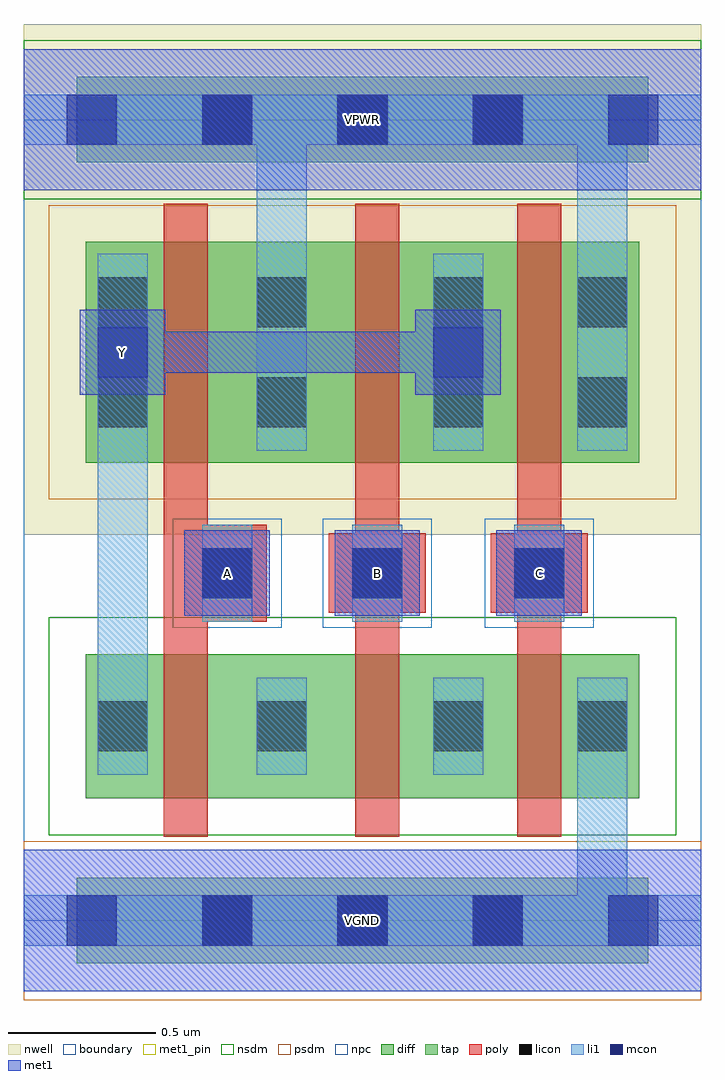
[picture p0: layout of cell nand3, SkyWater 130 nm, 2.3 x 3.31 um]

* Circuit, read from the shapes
.subckt nand3 A B C VGND VPWR Y
XM1 n1 A Y VGND sky130_fd_pr__nfet_01v8 w=0.49 l=0.15
XM2 n2 B n1 VGND sky130_fd_pr__nfet_01v8 w=0.49 l=0.15
XM3 VGND C n2 VGND sky130_fd_pr__nfet_01v8 w=0.49 l=0.15
XM4 VPWR A Y VPWR sky130_fd_pr__pfet_01v8 w=0.75 l=0.15
XM5 Y B VPWR VPWR sky130_fd_pr__pfet_01v8 w=0.75 l=0.15
XM6 VPWR C Y VPWR sky130_fd_pr__pfet_01v8 w=0.75 l=0.15
.ends

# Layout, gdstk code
import gdstk
lib = gdstk.Library(unit=1e-6, precision=1e-09)
def R(c, l, rs):  # rectangles x0, y0, x1, y1
    for r in rs: c.add(gdstk.rectangle(r[:2], r[2:], *l))
def A(c, l, x, y, w, h, nx, ny, dx, dy):  # array of equal rectangles
    R(c, l, [(x+i*dx, y+j*dy, x+i*dx+w, y+j*dy+h) for i in range(nx) for j in range(ny)])
nwell = (64, 20)
diff = (65, 20)
tap = (65, 44)
poly = (66, 20)
licon = (66, 44)
li1 = (67, 20)
mcon = (67, 44)
met1_pin = (68, 16)
met1 = (68, 20)
nsdm = (93, 44)
psdm = (94, 20)
npc = (95, 20)
boundary = (235, 4)

nand3 = lib.new_cell('nand3')
R(nand3, nwell, [(0,1.31,2.3,3.045)])
R(nand3, diff, [(0.21,0.415,2.09,0.905), (0.21,1.555,2.09,2.305)])
R(nand3, tap, [(0.18,-0.145,2.12,0.145), (0.18,2.575,2.12,2.865)])
R(nand3, poly, [(0.475,0.285,0.625,2.435), (1.125,0.285,1.275,2.435), (1.675,0.285,1.825,2.435), (0.555,1.015,0.825,1.345), (1.035,1.045,1.365,1.315), (1.585,1.045,1.915,1.315)])
A(nand3, licon, 0.605, -0.085, 0.17, 0.17, 3, 2, 0.46, 2.72)
R(nand3, licon, [(0.25,0.575,0.42,0.745), (0.79,0.575,0.96,0.745), (1.39,0.575,1.56,0.745), (1.88,0.575,2.05,0.745), (0.605,1.095,0.775,1.265), (1.115,1.095,1.285,1.265), (1.665,1.095,1.835,1.265), (0.25,1.675,0.42,1.845), (0.79,1.675,0.96,1.845), (1.39,1.675,1.56,1.845), (1.88,1.675,2.05,1.845), (0.25,2.015,0.42,2.185), (0.79,2.015,0.96,2.185), (1.39,2.015,1.56,2.185), (1.88,2.015,2.05,2.185)])
R(nand3, li1, [(0,-0.085,2.3,0.085), (1.88,-0.085,2.05,0.825), (0.25,0.495,0.42,0.825), (0.25,0.495,0.42,2.265), (0.79,0.495,0.96,0.825), (1.39,0.495,1.56,0.825), (1.88,0.495,2.05,0.825), (0.605,1.015,0.775,1.345), (1.115,1.015,1.285,1.345), (1.665,1.015,1.835,1.345), (0.25,1.595,0.42,2.265), (0.79,1.595,0.96,2.265), (0.79,1.595,0.96,2.805), (1.39,1.595,1.56,2.265), (1.88,1.595,2.05,2.265), (1.88,1.595,2.05,2.805), (0,2.635,2.3,2.805)])
A(nand3, mcon, 0.145, -0.085, 0.17, 0.17, 5, 2, 0.46, 2.72)
R(nand3, mcon, [(0.605,1.095,0.775,1.265), (1.115,1.095,1.285,1.265), (1.665,1.095,1.835,1.265), (0.25,1.845,0.42,2.015), (1.39,1.845,1.56,2.015)])
R(nand3, met1_pin, [(0,-0.24,2.3,0.24), (0.545,1.035,0.835,1.325), (1.055,1.035,1.345,1.325), (1.605,1.035,1.895,1.325), (0.19,1.785,0.48,2.075), (0,2.48,2.3,2.96)])
R(nand3, met1, [(0,-0.24,2.3,0.24), (0.545,1.035,0.835,1.325), (1.055,1.035,1.345,1.325), (1.605,1.035,1.895,1.325), (0.19,1.785,0.48,2.075), (1.33,1.785,1.62,2.075), (0.19,1.86,1.62,2), (0,2.48,2.3,2.96)])
R(nand3, nsdm, [(0.085,0.29,2.215,1.03), (0,2.45,2.3,2.99)])
R(nand3, psdm, [(0,-0.27,2.3,0.27), (0.085,1.43,2.215,2.43)])
R(nand3, npc, [(0.505,0.995,0.875,1.365), (1.015,0.995,1.385,1.365), (1.565,0.995,1.935,1.365)])
R(nand3, boundary, [(0,0,2.3,2.72)])
nand3.add(gdstk.Label('Y', (0.335,1.93), layer=68, texttype=5))
nand3.add(gdstk.Label('A', (0.69,1.18), layer=68, texttype=5))
nand3.add(gdstk.Label('B', (1.2,1.18), layer=68, texttype=5))
nand3.add(gdstk.Label('C', (1.75,1.18), layer=68, texttype=5))
nand3.add(gdstk.Label('VPWR', (1.15,2.72), layer=68, texttype=5))
nand3.add(gdstk.Label('VGND', (1.15,0), layer=68, texttype=5))
nand3.add(gdstk.Label('Y', (0.335,1.93), layer=68, texttype=16))
nand3.add(gdstk.Label('A', (0.69,1.18), layer=68, texttype=16))
nand3.add(gdstk.Label('B', (1.2,1.18), layer=68, texttype=16))
nand3.add(gdstk.Label('C', (1.75,1.18), layer=68, texttype=16))
nand3.add(gdstk.Label('VPWR', (1.15,2.72), layer=68, texttype=16))
nand3.add(gdstk.Label('VGND', (1.15,0), layer=68, texttype=16))

lib.write_gds('nand3.gds')
